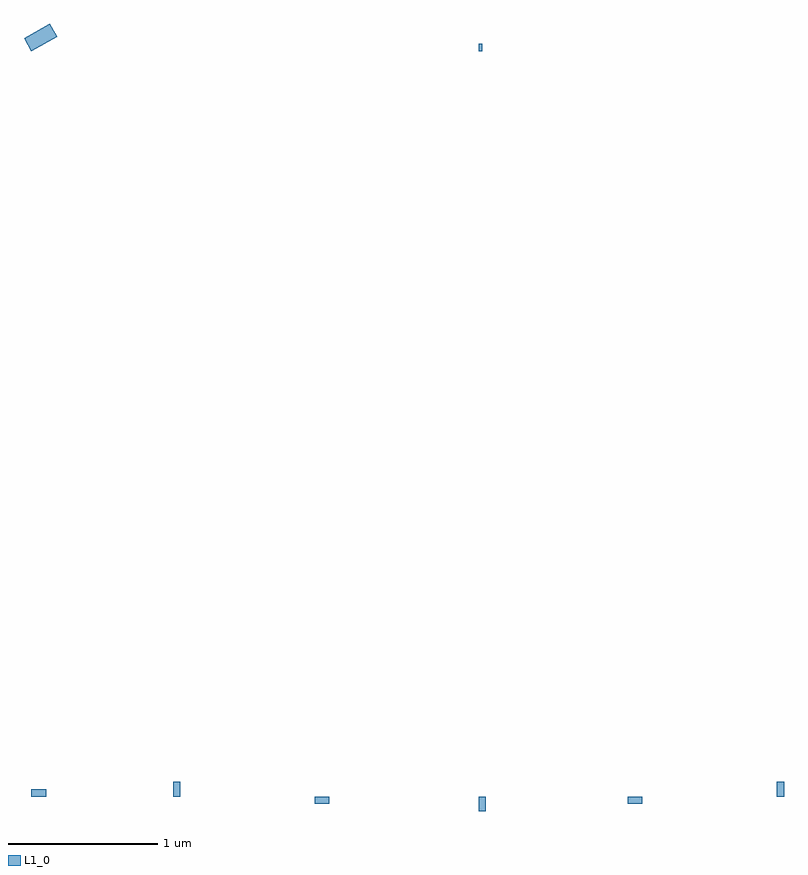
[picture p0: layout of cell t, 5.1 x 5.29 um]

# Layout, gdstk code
from math import pi, radians
import gdstk
lib = gdstk.Library(unit=1e-6, precision=1e-09)
def R(c, l, rs):  # rectangles x0, y0, x1, y1
    for r in rs: c.add(gdstk.rectangle(r[:2], r[2:], *l))
L1_0 = (1, 0)

c_c = lib.new_cell('c')
R(c_c, L1_0, [(0,0,0.1,0.05)])

c_t = lib.new_cell('t')
c_t.add(gdstk.Reference(c_c, (0,0)))
c_t.add(gdstk.Reference(c_c, (1,0), rotation=pi/2))
c_t.add(gdstk.Reference(c_c, (2,0), rotation=pi))
c_t.add(gdstk.Reference(c_c, (3,0), rotation=3*pi/2))
c_t.add(gdstk.Reference(c_c, (4,0), x_reflection=True))
c_t.add(gdstk.Reference(c_c, (5,0), rotation=pi/2, x_reflection=True))
c_t.add(gdstk.Reference(c_c, (0,5), rotation=radians(30), magnification=2))
c_t.add(gdstk.Reference(c_c, (3,5), rotation=pi/2, magnification=0.5, x_reflection=True))

lib.write_gds('t.gds')
